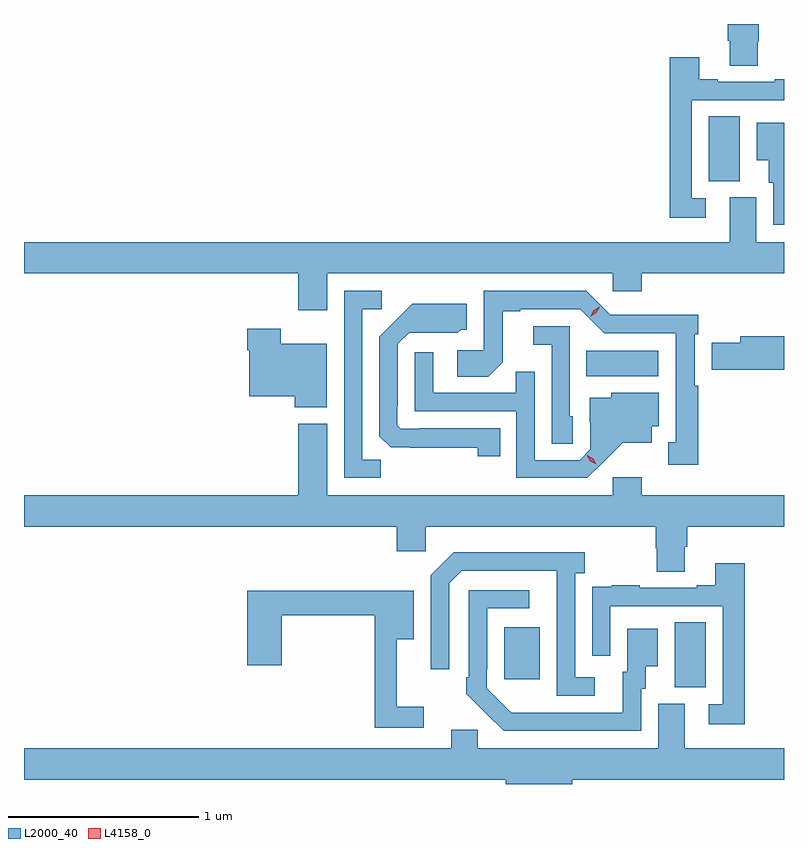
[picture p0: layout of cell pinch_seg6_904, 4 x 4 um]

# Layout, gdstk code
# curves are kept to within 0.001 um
import gdstk
lib = gdstk.Library(unit=1e-6, precision=1e-09)
def R(c, l, rs):  # rectangles x0, y0, x1, y1
    for r in rs: c.add(gdstk.rectangle(r[:2], r[2:], *l))
def P(c, l, *ps):  # polygons
    for p in ps: c.add(gdstk.Polygon(p, *l))
L2000_40 = (2000, 40)
L4158_0 = (4158, 0)

pinch_seg6_904 = lib.new_cell('pinch_seg6_904')
R(pinch_seg6_904, L2000_40, [(332.084,937.165,332.248,937.508), (331.187,937.209,331.375,937.483), (331.618,938.804,331.999,938.938), (332.264,939.829,332.428,940.172)])
P(pinch_seg6_904, L2000_40, [(332.523,940.563),(332.528,940.563),(332.528,940.657),(332.363,940.657),(332.363,940.57),(332.375,940.57),(332.375,940.438),(332.523,940.438)],
  [(332.248,939.741),(332.175,939.741),(332.175,940.257),(332.66,940.257),(332.66,940.366),(332.611,940.366),(332.611,940.353),(332.311,940.353),(332.311,940.366),(332.215,940.366),(332.215,940.483),(332.059,940.483),(332.059,939.636),(332.248,939.636)],
  [(332.66,940.138),(332.516,940.138),(332.516,939.941),(332.579,939.941),(332.579,939.822),(332.604,939.822),(332.604,939.6),(332.66,939.6)],
  [(330.256,939.344),(331.758,939.344),(331.758,939.251),(331.91,939.251),(331.91,939.344),(332.66,939.344),(332.66,939.508),(332.515,939.508),(332.515,939.744),(332.375,939.744),(332.375,939.508),(328.66,939.508),(328.66,939.344),(330.104,939.344),(330.104,939.15),(330.256,939.15)],
  [(330.537,938.363),(330.441,938.363),(330.441,939.156),(330.544,939.156),(330.544,939.252),(330.345,939.252),(330.345,938.268),(330.537,938.268)],
  [(332.209,938.753),(332.191,938.753),(332.191,939.023),(332.209,939.023),(332.209,939.128),(331.968,939.128),(331.968,939.126),(331.746,939.126),(331.62,939.252),(331.08,939.252),(331.08,938.94),(330.939,938.94),(330.939,938.8),(331.103,938.8),(331.179,938.876),(331.179,939.144),(331.273,939.144),(331.273,939.156),(331.587,939.156),(331.713,939.03),(332.09,939.03),(332.09,938.457),(332.051,938.457),(332.051,938.337),(332.209,938.337)],
  [(331.166,938.529),(330.742,938.529),(330.742,938.526),(330.642,938.526),(330.624,938.544),(330.624,938.644),(330.627,938.644),(330.627,938.973),(330.687,939.033),(330.944,939.032),(330.96,939.048),(330.991,939.048),(330.991,939.184),(330.703,939.184),(330.531,939.01),(330.531,938.488),(330.59,938.429),(331.048,938.428),(331.048,938.382),(331.166,938.382)],
  [(331.548,938.592),(331.533,938.592),(331.533,939.066),(331.341,939.066),(331.341,938.969),(331.437,938.969),(331.437,938.449),(331.548,938.449)],
  [(330.253,938.974),(330.012,938.974),(330.012,939.052),(329.834,939.052),(329.834,938.939),(329.846,938.939),(329.846,938.699),(330.086,938.699),(330.086,938.639),(330.253,938.639)],
  [(332.66,939.013),(332.429,939.013),(332.429,938.979),(332.28,938.979),(332.28,938.837),(332.66,938.837)],
  [(331.708,938.351),(331.811,938.453),(331.963,938.453),(331.963,938.54),(332.002,938.54),(332.002,938.716),(331.752,938.716),(331.752,938.689),(331.637,938.689),(331.637,938.56),(331.641,938.56),(331.641,938.418),(331.584,938.361),(331.347,938.361),(331.347,938.828),(331.249,938.828),(331.249,938.715),(330.813,938.715),(330.813,938.929),(330.717,938.929),(330.717,938.619),(331.251,938.619),(331.251,938.268),(331.624,938.268)],
  [(332.137,937.906),(332.15,937.906),(332.15,938.012),(332.66,938.012),(332.66,938.176),(331.91,938.176),(331.91,938.272),(331.758,938.272),(331.758,938.176),(330.256,938.176),(330.256,938.554),(330.104,938.554),(330.104,938.176),(328.66,938.176),(328.66,938.012),(330.623,938.012),(330.623,937.881),(330.774,937.881),(330.774,938.012),(331.985,938.012),(331.985,937.899),(331.99,937.899),(331.99,937.774),(332.137,937.774)],
  [(331.663,937.218),(331.56,937.218),(331.56,937.766),(331.612,937.766),(331.612,937.876),(330.922,937.876),(330.801,937.755),(330.801,937.26),(330.897,937.26),(330.897,937.713),(330.963,937.779),(331.463,937.779),(331.464,937.122),(331.663,937.122)],
  [(332.453,937.819),(332.297,937.819),(332.297,937.702),(332.201,937.702),(332.201,937.689),(331.901,937.689),(331.901,937.702),(331.753,937.702),(331.753,937.695),(331.651,937.695),(331.651,937.586),(331.65,937.586),(331.65,937.332),(331.746,937.332),(331.746,937.593),(332.337,937.593),(332.337,937.077),(332.265,937.077),(332.265,936.972),(332.453,936.972)],
  [(331.908,937.158),(331.933,937.158),(331.933,937.277),(331.996,937.277),(331.996,937.474),(331.835,937.474),(331.835,937.248),(331.811,937.248),(331.811,937.032),(331.224,937.033),(331.095,937.161),(331.095,937.261),(331.098,937.261),(331.098,937.581),(331.318,937.581),(331.318,937.677),(331.002,937.677),(331.002,937.219),(330.987,937.219),(330.987,937.131),(331.184,936.936),(331.908,936.936)],
  [(330.763,937.063),(330.623,937.063),(330.623,937.418),(330.712,937.418),(330.712,937.675),(329.834,937.675),(329.834,937.281),(330.017,937.281),(330.017,937.546),(330.505,937.546),(330.505,936.954),(330.763,936.954)],
  [(331.546,936.68),(332.66,936.68),(332.66,936.844),(332.137,936.844),(332.137,937.08),(331.997,937.08),(331.997,936.844),(331.047,936.844),(331.047,936.942),(330.908,936.942),(330.908,936.844),(328.66,936.844),(328.66,936.68),(331.196,936.68),(331.196,936.657),(331.546,936.657)])
P(pinch_seg6_904, L4158_0, [(331.64,939.117),(331.64,939.117),(331.657,939.149),(331.688,939.169),(331.689,939.169),(331.689,939.168),(331.672,939.136),(331.64,939.117)],
  [(331.672,938.339),(331.641,938.355),(331.624,938.385),(331.624,938.386),(331.625,938.386),(331.655,938.369),(331.672,938.339),(331.672,938.339)])

lib.write_gds('pinch_seg6_904.gds')
